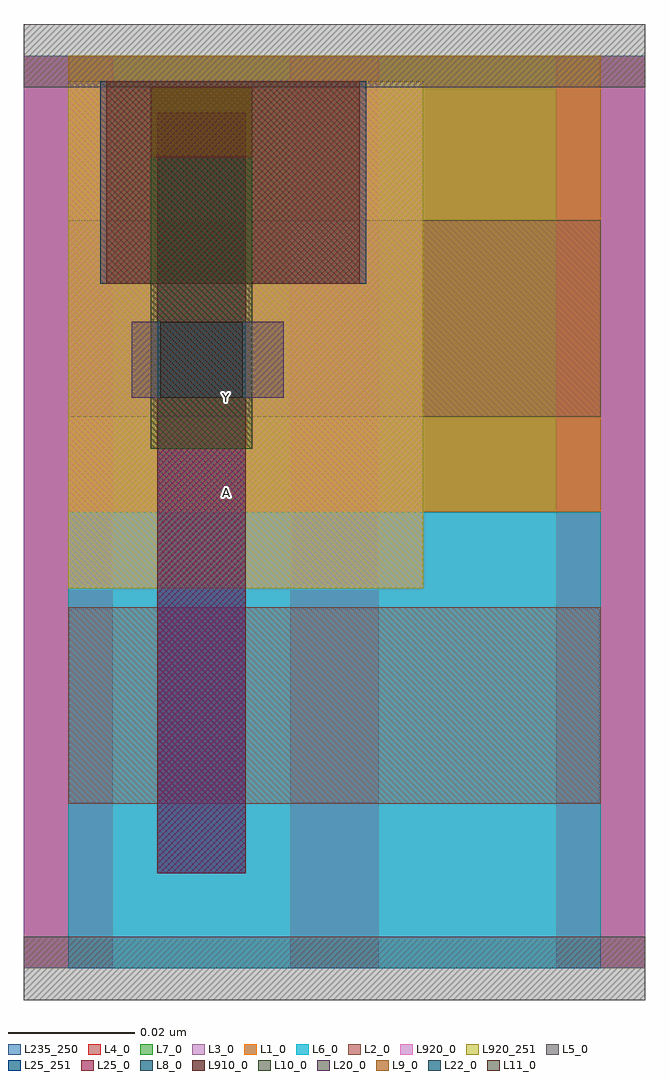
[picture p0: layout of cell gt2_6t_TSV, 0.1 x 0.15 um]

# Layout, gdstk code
import gdstk
lib = gdstk.Library(unit=1e-6, precision=5e-10)
def R(c, l, rs):  # rectangles x0, y0, x1, y1
    for r in rs: c.add(gdstk.rectangle(r[:2], r[2:], *l))
def A(c, l, x, y, w, h, nx, ny, dx, dy):  # array of equal rectangles
    R(c, l, [(x+i*dx, y+j*dy, x+i*dx+w, y+j*dy+h) for i in range(nx) for j in range(ny)])
def P(c, l, *ps):  # polygons
    for p in ps: c.add(gdstk.Polygon(p, *l))
L1_0 = (1, 0)
L2_0 = (2, 0)
L3_0 = (3, 0)
L4_0 = (4, 0)
L5_0 = (5, 0)
L6_0 = (6, 0)
L7_0 = (7, 0)
L8_0 = (8, 0)
L9_0 = (9, 0)
L10_0 = (10, 0)
L11_0 = (11, 0)
L20_0 = (20, 0)
L22_0 = (22, 0)
L25_0 = (25, 0)
L25_251 = (25, 251)
L235_250 = (235, 250)
L910_0 = (910, 0)
L920_0 = (920, 0)
L920_251 = (920, 251)

gt2_6t_tsv = lib.new_cell('gt2_6t_TSV')
R(gt2_6t_tsv, L1_0, [(0,0.072,0.084,0.144)])
R(gt2_6t_tsv, L2_0, [(0,0.026,0.084,0.057), (0,0.087,0.084,0.118)])
A(gt2_6t_tsv, L3_0, -0.007, 0, 0.014, 0.144, 3, 1, 0.042, 0)
A(gt2_6t_tsv, L4_0, -0.007, 0, 0.014, 0.144, 3, 1, 0.042, 0)
R(gt2_6t_tsv, L4_0, [(-0.007,0,0.007,0.144), (-0.007,0,0.007,0.144), (-0.007,0,0.007,0.144)])
P(gt2_6t_tsv, L4_0, [(0.035,0),(0.035,0),(0.05,0),(0.05,0)])
R(gt2_6t_tsv, L5_0, [(-0.007,-0.005,0.091,0.005), (-0.007,0.139,0.091,0.149)])
R(gt2_6t_tsv, L6_0, [(0,0,0.084,0.072)])
R(gt2_6t_tsv, L7_0, [(0,0.072,0.084,0.144)])
R(gt2_6t_tsv, L8_0, [(0.005,0.108,0.047,0.14)])
R(gt2_6t_tsv, L9_0, [(0.013,0.128,0.029,0.139)])
R(gt2_6t_tsv, L10_0, [(0.013,0.082,0.029,0.139)])
R(gt2_6t_tsv, L11_0, [(0.0145,0.09,0.0275,0.102)])
R(gt2_6t_tsv, L20_0, [(0.01,0.09,0.034,0.102)])
R(gt2_6t_tsv, L22_0, [(0.014,0.09,0.028,0.102)])
R(gt2_6t_tsv, L25_0, [(0.014,0.015,0.028,0.135)])
R(gt2_6t_tsv, L25_251, [(0.014,0.015,0.028,0.135)])
R(gt2_6t_tsv, L235_250, [(0,0,0.084,0.144)])
R(gt2_6t_tsv, L910_0, [(0.006,0.108,0.046,0.14)])
R(gt2_6t_tsv, L920_0, [(0,0.06,0.056,0.14)])
R(gt2_6t_tsv, L920_251, [(0,0.06,0.056,0.14)])
P(gt2_6t_tsv, L920_251, [(0.09,0.115),(0.09,0.115),(0.09,0.115),(0.09,0.115)])
gt2_6t_tsv.add(gdstk.Label('Y', (0.025,0.09), layer=920, texttype=2))
gt2_6t_tsv.add(gdstk.Label('A', (0.025,0.075), layer=25, texttype=2))
gt2_6t_tsv.add(gdstk.Label('A', (0.025,0.075), layer=25, texttype=2))

lib.write_gds('gt2_6t_TSV.gds')
